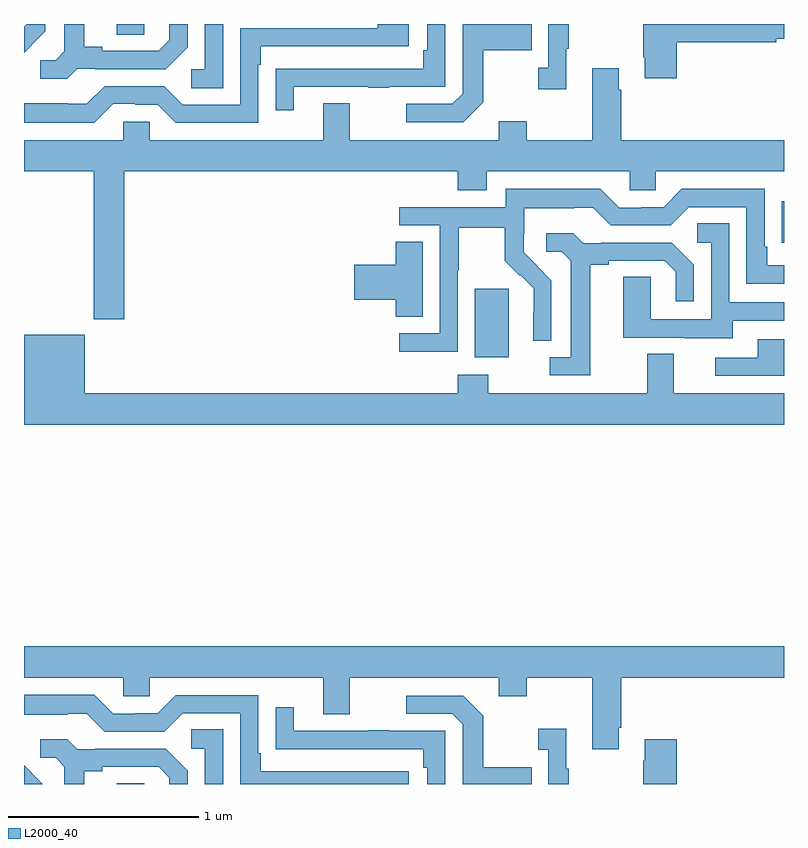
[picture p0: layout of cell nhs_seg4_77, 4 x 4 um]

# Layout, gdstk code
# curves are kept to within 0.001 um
import gdstk
lib = gdstk.Library(unit=1e-6, precision=1e-09)
def R(c, l, rs):  # rectangles x0, y0, x1, y1
    for r in rs: c.add(gdstk.rectangle(r[:2], r[2:], *l))
def P(c, l, *ps):  # polygons
    for p in ps: c.add(gdstk.Polygon(p, *l))
L2000_40 = (2000, 40)

nhs_seg4_77 = lib.new_cell('nhs_seg4_77')
R(nhs_seg4_77, L2000_40, [(113.489,822.9,113.634,822.905), (115.373,825.146,115.552,825.507), (116.989,825.748,117,825.967), (113.489,826.843,113.634,826.9)])
P(nhs_seg4_77, L2000_40, [(115.855,826.769),(115.867,826.769),(115.867,826.9),(115.758,826.9),(115.758,826.67),(115.707,826.67),(115.707,826.557),(115.855,826.557)],
  [(116.435,826.804),(116.96,826.804),(116.96,826.823),(117,826.823),(117,826.9),(116.26,826.9),(116.26,826.726),(116.267,826.726),(116.267,826.614),(116.435,826.614)],
  [(113.28,826.665),(113.374,826.665),(113.374,826.662),(113.746,826.662),(113.862,826.778),(113.862,826.9),(113.765,826.9),(113.765,826.815),(113.708,826.758),(113.413,826.758),(113.413,826.781),(113.317,826.781),(113.317,826.9),(113.213,826.9),(113.213,826.757),(113.166,826.71),(113.085,826.71),(113.085,826.613),(113.228,826.613)],
  [(113.469,826.479),(113.585,826.479),(113.585,826.476),(113.703,826.476),(113.799,826.38),(114.234,826.38),(114.234,826.685),(114.247,826.685),(114.247,826.782),(115.024,826.782),(115.024,826.9),(114.863,826.9),(114.863,826.878),(114.138,826.878),(114.138,826.476),(113.835,826.476),(113.739,826.572),(113.424,826.572),(113.331,826.479),(113.231,826.479),(113.231,826.483),(113,826.483),(113,826.379),(113.369,826.379)],
  [(113.04,826.788),(113.039,826.789),(113.112,826.862),(113.112,826.9),(113.014,826.9),(113,826.886),(113,826.748)],
  [(114.421,826.569),(114.811,826.569),(114.811,826.564),(114.923,826.564),(114.923,826.569),(115.218,826.569),(115.218,826.9),(115.122,826.9),(115.122,826.762),(115.102,826.762),(115.102,826.665),(114.427,826.665),(114.427,826.664),(114.325,826.664),(114.325,826.446),(114.421,826.446)],
  [(114.048,826.9),(113.952,826.9),(113.952,826.662),(113.88,826.662),(113.88,826.561),(114.048,826.561)],
  [(115.417,826.489),(115.417,826.762),(115.673,826.762),(115.673,826.9),(115.308,826.9),(115.308,826.533),(115.254,826.479),(115.011,826.479),(115.011,826.383),(115.311,826.383)],
  [(113.528,826.124),(115.283,826.124),(115.283,826.025),(115.435,826.025),(115.435,826.124),(116.187,826.124),(116.187,826.026),(116.325,826.026),(116.325,826.124),(117,826.124),(117,826.288),(116.144,826.288),(116.144,826.553),(116.131,826.553),(116.131,826.666),(115.991,826.666),(115.991,826.288),(115.647,826.288),(115.647,826.387),(115.499,826.387),(115.499,826.288),(114.715,826.288),(114.715,826.483),(114.575,826.483),(114.575,826.288),(113.661,826.288),(113.661,826.386),(113.523,826.386),(113.523,826.288),(113,826.288),(113,826.124),(113.368,826.124),(113.368,825.345),(113.528,825.345)],
  [(115.284,825.604),(115.287,825.604),(115.287,825.828),(115.531,825.828),(115.531,825.653),(115.608,825.576),(115.611,825.579),(115.682,825.509),(115.682,825.386),(115.68,825.386),(115.68,825.232),(115.776,825.232),(115.776,825.55),(115.63,825.698),(115.63,825.795),(115.632,825.795),(115.632,825.929),(115.895,825.929),(115.895,825.933),(115.995,825.933),(116.088,825.84),(116.403,825.84),(116.499,825.936),(116.802,825.936),(116.802,825.534),(117,825.534),(117,825.63),(116.911,825.63),(116.911,825.727),(116.898,825.727),(116.898,826.032),(116.463,826.032),(116.367,825.936),(116.249,825.936),(116.249,825.933),(116.133,825.933),(116.033,826.033),(115.536,826.033),(115.536,825.936),(114.975,825.936),(114.975,825.84),(115.188,825.84),(115.188,825.273),(114.975,825.273),(114.975,825.175),(115.284,825.175)],
  [(116.731,825.339),(117,825.339),(117,825.435),(116.712,825.435),(116.712,825.851),(116.544,825.851),(116.544,825.75),(116.616,825.75),(116.616,825.345),(116.298,825.345),(116.298,825.569),(116.153,825.569),(116.153,825.249),(116.477,825.249),(116.477,825.245),(116.731,825.245)],
  [(115.981,825.632),(116.077,825.632),(116.077,825.654),(116.372,825.654),(116.429,825.597),(116.429,825.441),(116.526,825.441),(116.526,825.634),(116.41,825.75),(116.038,825.75),(116.038,825.747),(115.944,825.747),(115.892,825.799),(115.749,825.799),(115.749,825.702),(115.83,825.702),(115.877,825.655),(115.877,825.147),(115.767,825.147),(115.767,825.051),(115.981,825.051)],
  [(115.099,825.755),(114.956,825.755),(114.956,825.632),(114.738,825.632),(114.738,825.449),(114.956,825.449),(114.956,825.358),(115.099,825.358)],
  [(117,824.956),(116.419,824.956),(116.419,825.164),(116.279,825.164),(116.279,824.956),(115.443,824.956),(115.443,825.055),(115.283,825.055),(115.283,824.956),(113.32,824.956),(113.32,825.265),(113,825.265),(113,824.792),(117,824.792)],
  [(117,825.24),(116.861,825.24),(116.861,825.144),(116.637,825.144),(116.637,825.048),(117,825.048)],
  [(116.131,823.195),(116.144,823.195),(116.144,823.46),(117,823.46),(117,823.624),(113,823.624),(113,823.46),(113.523,823.46),(113.523,823.362),(113.661,823.362),(113.661,823.46),(114.575,823.46),(114.575,823.266),(114.715,823.266),(114.715,823.46),(115.499,823.46),(115.499,823.361),(115.647,823.361),(115.647,823.46),(115.991,823.46),(115.991,823.083),(116.131,823.083)],
  [(115.024,822.966),(114.247,822.966),(114.247,823.063),(114.234,823.063),(114.234,823.368),(113.799,823.368),(113.703,823.272),(113.585,823.272),(113.585,823.269),(113.469,823.269),(113.369,823.369),(113,823.369),(113,823.265),(113.231,823.265),(113.231,823.269),(113.331,823.269),(113.424,823.176),(113.739,823.176),(113.835,823.272),(114.138,823.272),(114.138,822.9),(115.024,822.9)],
  [(115.673,822.987),(115.417,822.987),(115.417,823.259),(115.311,823.365),(115.011,823.365),(115.011,823.269),(115.254,823.269),(115.308,823.215),(115.308,822.9),(115.673,822.9)],
  [(115.218,823.179),(114.923,823.179),(114.923,823.184),(114.811,823.184),(114.811,823.179),(114.421,823.179),(114.421,823.303),(114.325,823.303),(114.325,823.084),(114.427,823.084),(114.427,823.083),(115.102,823.083),(115.102,822.986),(115.122,822.986),(115.122,822.9),(115.218,822.9)],
  [(115.867,822.979),(115.855,822.979),(115.855,823.192),(115.707,823.192),(115.707,823.079),(115.758,823.079),(115.758,822.9),(115.867,822.9)],
  [(114.048,823.187),(113.88,823.187),(113.88,823.086),(113.952,823.086),(113.952,822.9),(114.048,822.9)],
  [(113.317,822.968),(113.413,822.968),(113.413,822.99),(113.708,822.99),(113.765,822.933),(113.765,822.9),(113.862,822.9),(113.862,822.97),(113.746,823.086),(113.374,823.086),(113.374,823.083),(113.28,823.083),(113.228,823.135),(113.085,823.135),(113.085,823.038),(113.166,823.038),(113.213,822.991),(113.213,822.9),(113.317,822.9)],
  [(116.435,823.135),(116.267,823.135),(116.267,823.022),(116.26,823.022),(116.26,822.9),(116.435,822.9)],
  [(113.039,822.959),(113.04,822.96),(113,823),(113,822.9),(113.098,822.9)])

lib.write_gds('nhs_seg4_77.gds')
